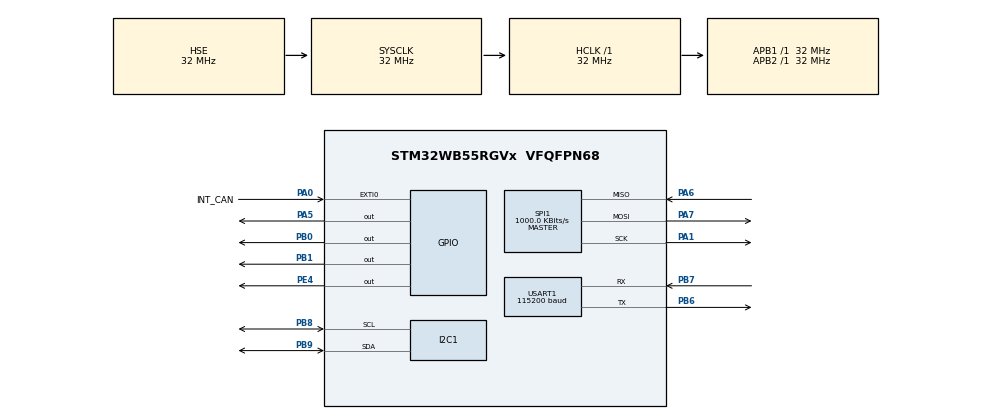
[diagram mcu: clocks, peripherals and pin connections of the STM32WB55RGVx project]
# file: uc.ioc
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Dma.I2C1_RX.1.Direction=DMA_PERIPH_TO_MEMORY
Dma.I2C1_RX.1.EventEnable=DISABLE
Dma.I2C1_RX.1.Instance=DMA1_Channel2
Dma.I2C1_RX.1.MemDataAlignment=DMA_MDATAALIGN_BYTE
Dma.I2C1_RX.1.MemInc=DMA_MINC_ENABLE
Dma.I2C1_RX.1.Mode=DMA_NORMAL
Dma.I2C1_RX.1.PeriphDataAlignment=DMA_PDATAALIGN_BYTE
Dma.I2C1_RX.1.PeriphInc=DMA_PINC_DISABLE
Dma.I2C1_RX.1.Polarity=HAL_DMAMUX_REQ_GEN_RISING
Dma.I2C1_RX.1.Priority=DMA_PRIORITY_LOW
Dma.I2C1_RX.1.RequestNumber=1
Dma.I2C1_RX.1.SignalID=NONE
Dma.I2C1_RX.1.SyncEnable=DISABLE
Dma.I2C1_RX.1.SyncPolarity=HAL_DMAMUX_SYNC_NO_EVENT
Dma.I2C1_RX.1.SyncRequestNumber=1
Dma.I2C1_RX.1.SyncSignalID=NONE
Dma.I2C1_TX.2.Direction=DMA_MEMORY_TO_PERIPH
Dma.I2C1_TX.2.EventEnable=DISABLE
Dma.I2C1_TX.2.Instance=DMA1_Channel3
Dma.I2C1_TX.2.MemDataAlignment=DMA_MDATAALIGN_BYTE
Dma.I2C1_TX.2.MemInc=DMA_MINC_ENABLE
Dma.I2C1_TX.2.Mode=DMA_NORMAL
Dma.I2C1_TX.2.PeriphDataAlignment=DMA_PDATAALIGN_BYTE
Dma.I2C1_TX.2.PeriphInc=DMA_PINC_DISABLE
Dma.I2C1_TX.2.Polarity=HAL_DMAMUX_REQ_GEN_RISING
Dma.I2C1_TX.2.Priority=DMA_PRIORITY_LOW
Dma.I2C1_TX.2.RequestNumber=1
Dma.I2C1_TX.2.SignalID=NONE
Dma.I2C1_TX.2.SyncEnable=DISABLE
Dma.I2C1_TX.2.SyncPolarity=HAL_DMAMUX_SYNC_NO_EVENT
Dma.I2C1_TX.2.SyncRequestNumber=1
Dma.I2C1_TX.2.SyncSignalID=NONE
Dma.Request0=USART1_TX
Dma.Request1=I2C1_RX
Dma.Request2=I2C1_TX
Dma.Request3=SPI1_RX
Dma.Request4=SPI1_TX
Dma.SPI1_RX.3.Direction=DMA_PERIPH_TO_MEMORY
Dma.SPI1_RX.3.EventEnable=DISABLE
Dma.SPI1_RX.3.Instance=DMA1_Channel4
Dma.SPI1_RX.3.MemDataAlignment=DMA_MDATAALIGN_BYTE
Dma.SPI1_RX.3.MemInc=DMA_MINC_ENABLE
Dma.SPI1_RX.3.Mode=DMA_NORMAL
Dma.SPI1_RX.3.PeriphDataAlignment=DMA_PDATAALIGN_BYTE
Dma.SPI1_RX.3.PeriphInc=DMA_PINC_DISABLE
Dma.SPI1_RX.3.Polarity=HAL_DMAMUX_REQ_GEN_RISING
Dma.SPI1_RX.3.Priority=DMA_PRIORITY_LOW
Dma.SPI1_RX.3.RequestNumber=1
Dma.SPI1_RX.3.SignalID=NONE
Dma.SPI1_RX.3.SyncEnable=DISABLE
Dma.SPI1_RX.3.SyncPolarity=HAL_DMAMUX_SYNC_NO_EVENT
Dma.SPI1_RX.3.SyncRequestNumber=1
Dma.SPI1_RX.3.SyncSignalID=NONE
Dma.SPI1_TX.4.Direction=DMA_MEMORY_TO_PERIPH
Dma.SPI1_TX.4.EventEnable=DISABLE
Dma.SPI1_TX.4.Instance=DMA1_Channel5
Dma.SPI1_TX.4.MemDataAlignment=DMA_MDATAALIGN_BYTE
Dma.SPI1_TX.4.MemInc=DMA_MINC_ENABLE
Dma.SPI1_TX.4.Mode=DMA_NORMAL
Dma.SPI1_TX.4.PeriphDataAlignment=DMA_PDATAALIGN_BYTE
Dma.SPI1_TX.4.PeriphInc=DMA_PINC_DISABLE
Dma.SPI1_TX.4.Polarity=HAL_DMAMUX_REQ_GEN_RISING
Dma.SPI1_TX.4.Priority=DMA_PRIORITY_LOW
Dma.SPI1_TX.4.RequestNumber=1
Dma.SPI1_TX.4.SignalID=NONE
Dma.SPI1_TX.4.SyncEnable=DISABLE
Dma.SPI1_TX.4.SyncPolarity=HAL_DMAMUX_SYNC_NO_EVENT
Dma.SPI1_TX.4.SyncRequestNumber=1
Dma.SPI1_TX.4.SyncSignalID=NONE
Dma.USART1_TX.0.Direction=DMA_MEMORY_TO_PERIPH
Dma.USART1_TX.0.EventEnable=DISABLE
Dma.USART1_TX.0.Instance=DMA1_Channel1
Dma.USART1_TX.0.MemDataAlignment=DMA_MDATAALIGN_BYTE
Dma.USART1_TX.0.MemInc=DMA_MINC_ENABLE
Dma.USART1_TX.0.Mode=DMA_NORMAL
Dma.USART1_TX.0.PeriphDataAlignment=DMA_PDATAALIGN_BYTE
Dma.USART1_TX.0.PeriphInc=DMA_PINC_DISABLE
Dma.USART1_TX.0.Polarity=HAL_DMAMUX_REQ_GEN_RISING
Dma.USART1_TX.0.Priority=DMA_PRIORITY_LOW
Dma.USART1_TX.0.RequestNumber=1
Dma.USART1_TX.0.SignalID=NONE
Dma.USART1_TX.0.SyncEnable=DISABLE
Dma.USART1_TX.0.SyncPolarity=HAL_DMAMUX_SYNC_NO_EVENT
Dma.USART1_TX.0.SyncRequestNumber=1
Dma.USART1_TX.0.SyncSignalID=NONE
I2C1.Timing=0x00B07CB4
Mcu.Family=STM32WB
Mcu.Name=STM32WB55RGVx
Mcu.Package=VFQFPN68
NVIC.DMA1_Channel1_IRQn=true\:15\:0\:true\:false\:true\:false\:true\:true
NVIC.DMA1_Channel2_IRQn=true\:0\:0\:false\:false\:true\:false\:true\:true
NVIC.DMA1_Channel3_IRQn=true\:0\:0\:false\:false\:true\:false\:true\:true
NVIC.DMA1_Channel4_IRQn=true\:0\:0\:false\:false\:true\:false\:true\:true
NVIC.DMA1_Channel5_IRQn=true\:0\:0\:false\:false\:true\:false\:true\:true
NVIC.EXTI0_IRQn=true\:0\:0\:false\:false\:true\:true\:true\:true
NVIC.HSEM_IRQn=true\:0\:0\:false\:false\:true\:false\:true\:true
NVIC.I2C1_ER_IRQn=true\:0\:0\:false\:false\:true\:true\:true\:true
NVIC.I2C1_EV_IRQn=true\:0\:0\:false\:false\:true\:true\:true\:true
NVIC.IPCC_C1_RX_IRQn=true\:0\:0\:false\:false\:true\:true\:true\:true
NVIC.IPCC_C1_TX_IRQn=true\:0\:0\:false\:false\:true\:true\:true\:true
NVIC.PriorityGroup=NVIC_PRIORITYGROUP_4
NVIC.RTC_WKUP_IRQn=true\:0\:0\:false\:false\:true\:true\:true\:true
NVIC.SPI1_IRQn=true\:0\:0\:false\:false\:true\:true\:true\:true
NVIC.USART1_IRQn=true\:0\:0\:false\:false\:true\:true\:true\:true
OSC_IN.Mode=HSE-External-Oscillator
OSC_IN.Signal=RCC_OSC_IN
OSC_OUT.Mode=HSE-External-Oscillator
OSC_OUT.Signal=RCC_OSC_OUT
PA0.GPIO_Label=INT_CAN
PA0.GPIO_ModeDefaultEXTI=GPIO_MODE_IT_FALLING
PA0.GPIO_PuPd=GPIO_NOPULL
PA0.Signal=GPXTI0
PA1.Mode=Full_Duplex_Master
PA1.Signal=SPI1_SCK
PA13.Mode=Serial_Wire
PA13.Signal=SYS_JTMS-SWDIO
PA14.Mode=Serial_Wire
PA14.Signal=SYS_JTCK-SWCLK
PA5.Signal=GPIO_Output
PA6.Mode=Full_Duplex_Master
PA6.Signal=SPI1_MISO
PA7.Mode=Full_Duplex_Master
PA7.Signal=SPI1_MOSI
PB0.Signal=GPIO_Output
PB1.Signal=GPIO_Output
PB3.Signal=SYS_JTDO-SWO
PB6.Mode=Asynchronous
PB6.Signal=USART1_TX
PB7.Mode=Asynchronous
PB7.Signal=USART1_RX
PB8.Mode=I2C
PB8.Signal=I2C1_SCL
PB9.Mode=I2C
PB9.Signal=I2C1_SDA
PC14-OSC32_IN.Mode=LSE-External-Oscillator
PC14-OSC32_IN.Signal=RCC_OSC32_IN
PC15-OSC32_OUT.Mode=LSE-External-Oscillator
PC15-OSC32_OUT.Signal=RCC_OSC32_OUT
PE4.Signal=GPIO_Output
ProjectManager.HeapSize=0x400
ProjectManager.StackSize=0x1000
ProjectManager.TargetToolchain=STM32CubeIDE
RCC.ADCFreq_Value=16000000
RCC.AHBFreq_Value=32000000
RCC.APB1Freq_Value=32000000
RCC.APB1TimFreq_Value=32000000
RCC.APB2Freq_Value=32000000
RCC.APB2TimFreq_Value=32000000
RCC.APB3Freq_Value=16000000
RCC.CortexFreq_Value=32000000
RCC.HCLKFreq_Value=32000000
RCC.HSE_VALUE=32000000
RCC.HSI48_VALUE=48000000
RCC.HSI_VALUE=16000000
RCC.RFWKPClockSelection=RCC_RFWKPCLKSOURCE_LSE
RCC.RTCClockSelection=RCC_RTCCLKSOURCE_LSE
RCC.SMPSCLockSelection=RCC_SMPSCLKSOURCE_HSE
RCC.SMPSDivider=4
RCC.SYSCLKFreq_VALUE=32000000
RCC.SYSCLKSource=RCC_SYSCLKSOURCE_HSE
RCC.USBFreq_Value=16000000
RCC.VCOOutputFreq_Value=32000000
RF1.Mode=RF1_Activate
RF1.Signal=RF_RF1
SPI1.BaudRatePrescaler=SPI_BAUDRATEPRESCALER_32
SPI1.CalculateBaudRate=1000.0 KBits/s
SPI1.DataSize=SPI_DATASIZE_8BIT
SPI1.Direction=SPI_DIRECTION_2LINES
SPI1.Mode=SPI_MODE_MASTER
SPI1.NSSPMode=SPI_NSS_PULSE_DISABLE
SPI1.VirtualType=VM_MASTER
STM32_WPAN.AD_TYPE_COMPLETE_LOCAL_NAME=Unicycle
STM32_WPAN.CFG_DEBUGGER_SUPPORTED=1
STM32_WPAN.CFG_GAP_DEVICE_NAME=Unicycle_BLE
STM32_WPAN.CFG_GAP_DEVICE_NAME_LENGTH=12
STM32_WPAN.CFG_HW_USART1_ENABLED=1
STM32_WPAN.CUSTOM_P2P_SERVER=Disabled
STM32_WPAN.CUSTOM_TEMPLATE=Enabled
STM32_WPAN.INCLUDE_AD_TYPE_COMPLETE_LOCAL_NAME=1
STM32_WPAN.INCLUDE_AD_TYPE_MANUFACTURER_SPECIFIC_DATA=1
STM32_WPAN.INCLUDE_AD_TYPE_TX_POWER_LEVEL=1
STM32_WPAN.NUMBER_OF_SERVICES=1
STM32_WPAN.PAIRING_PARAMETERS=ON
STM32_WPAN.SERVICE1_CHAR1_GATT_NOTIFY_NOTIFICATION_COMPLETION=GATT_NOTIFY_NOTIFICATION_COMPLETION
STM32_WPAN.SERVICE1_CHAR1_LENGTH_CHARACTERISTIC=CHAR_VALUE_LEN_VARIABLE
STM32_WPAN.SERVICE1_CHAR1_LONG_NAME=Main_Motor
STM32_WPAN.SERVICE1_CHAR1_PROP_NOTIFY=CHAR_PROP_NOTIFY
STM32_WPAN.SERVICE1_CHAR1_PROP_READ=CHAR_PROP_READ
STM32_WPAN.SERVICE1_CHAR1_PROP_WRITE=CHAR_PROP_WRITE
STM32_WPAN.SERVICE1_CHAR1_PROP_WRITE_WITHOUT_RESP=CHAR_PROP_WRITE_WITHOUT_RESP
STM32_WPAN.SERVICE1_CHAR1_SHORT_NAME=MM
STM32_WPAN.SERVICE1_CHAR1_UUID=00 01
STM32_WPAN.SERVICE1_CHAR1_VALUE_LENGTH=128
STM32_WPAN.SERVICE1_CHAR2_LENGTH_CHARACTERISTIC=CHAR_VALUE_LEN_VARIABLE
STM32_WPAN.SERVICE1_CHAR2_LONG_NAME=Balancer_Motor
STM32_WPAN.SERVICE1_CHAR2_PROP_READ=CHAR_PROP_READ
STM32_WPAN.SERVICE1_CHAR2_PROP_WRITE=CHAR_PROP_WRITE
STM32_WPAN.SERVICE1_CHAR2_PROP_WRITE_WITHOUT_RESP=CHAR_PROP_WRITE_WITHOUT_RESP
STM32_WPAN.SERVICE1_CHAR2_SHORT_NAME=BM
STM32_WPAN.SERVICE1_CHAR2_UUID=00 02
STM32_WPAN.SERVICE1_CHAR2_VALUE_LENGTH=128
STM32_WPAN.SERVICE1_CHAR3_ATTR_PERMISSION_AUTHEN_WRITE=\ 
STM32_WPAN.SERVICE1_CHAR3_ATTR_PERMISSION_AUTHOR_READ=\ 
STM32_WPAN.SERVICE1_CHAR3_ATTR_PERMISSION_AUTHOR_WRITE=\ 
STM32_WPAN.SERVICE1_CHAR3_GATT_NOTIFY_NOTIFICATION_COMPLETION=\ 
STM32_WPAN.SERVICE1_CHAR3_GATT_NOTIFY_READ_REQ_AND_WAIT_FOR_APPL_RESP=\ 
STM32_WPAN.SERVICE1_CHAR3_GATT_NOTIFY_WRITE_REQ_AND_WAIT_FOR_APPL_RESP=\ 
STM32_WPAN.SERVICE1_CHAR3_LENGTH_CHARACTERISTIC=CHAR_VALUE_LEN_VARIABLE
STM32_WPAN.SERVICE1_CHAR3_LONG_NAME=UcCommand
STM32_WPAN.SERVICE1_CHAR3_PROP_BROADCAST=CHAR_PROP_BROADCAST
STM32_WPAN.SERVICE1_CHAR3_PROP_INDICATE=CHAR_PROP_INDICATE
STM32_WPAN.SERVICE1_CHAR3_PROP_NOTIFY=CHAR_PROP_NOTIFY
STM32_WPAN.SERVICE1_CHAR3_PROP_WRITE=CHAR_PROP_WRITE
STM32_WPAN.SERVICE1_CHAR3_PROP_WRITE_WITHOUT_RESP=CHAR_PROP_WRITE_WITHOUT_RESP
STM32_WPAN.SERVICE1_CHAR3_SHORT_NAME=UcC
STM32_WPAN.SERVICE1_CHAR3_UUID=00 03
STM32_WPAN.SERVICE1_CHAR3_VALUE_LENGTH=128
STM32_WPAN.SERVICE1_CHAR4_ATTR_PERMISSION_AUTHEN_WRITE=ATTR_PERMISSION_AUTHEN_WRITE
STM32_WPAN.SERVICE1_CHAR4_ATTR_PERMISSION_AUTHOR_WRITE=ATTR_PERMISSION_AUTHOR_WRITE
STM32_WPAN.SERVICE1_CHAR4_ATTR_PERMISSION_ENCRY_WRITE=ATTR_PERMISSION_ENCRY_WRITE
STM32_WPAN.SERVICE1_CHAR4_LENGTH_CHARACTERISTIC=CHAR_VALUE_LEN_VARIABLE
STM32_WPAN.SERVICE1_CHAR4_LONG_NAME=UcUpdater
STM32_WPAN.SERVICE1_CHAR4_PROP_WRITE=CHAR_PROP_WRITE
STM32_WPAN.SERVICE1_CHAR4_PROP_WRITE_WITHOUT_RESP=CHAR_PROP_WRITE_WITHOUT_RESP
STM32_WPAN.SERVICE1_CHAR4_SHORT_NAME=UCU
STM32_WPAN.SERVICE1_CHAR4_UUID=00 04
STM32_WPAN.SERVICE1_CHAR4_VALUE_LENGTH=128
STM32_WPAN.SERVICE1_LONG_NAME=UcServer
STM32_WPAN.SERVICE1_NUMBER_OF_CHARACTERISTICS=4
STM32_WPAN.SERVICE1_SHORT_NAME=UCS
USART1.BaudRate=115200
USART1.VirtualMode-Asynchronous=VM_ASYNC
VP_HSEM_VS_HSEM.Mode=HSEM_Activate
VP_IPCC_VS_IPCC.Mode=IPCC_Activate
VP_MEMORYMAP_VS_MEMORYMAP.Mode=CurAppReg
VP_RTC_VS_RTC_Activate.Mode=RTC_Enabled
VP_RTC_VS_RTC_WakeUp_intern.Mode=WakeUp
VP_SEQUENCER_VS_SEQUENCER.Mode=SEQUENCER_Enabled
VP_STM32_WPAN_VS_BLE_HOST.Mode=STM32_WPAN_Enabled
VP_TINY_LPM_VS_TINY_LPM.Mode=TINY_LPM_Enabled
board=custom

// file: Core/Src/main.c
/* USER CODE BEGIN Header */
/**
 ******************************************************************************
 * @file           : main.c
 * @brief          : Main program body
 ******************************************************************************
 * @attention
 *
 * Copyright (c) 2025 STMicroelectronics.
 * All rights reserved.
 *
 * This software is licensed under terms that can be found in the LICENSE file
 * in the root directory of this software component.
 * If no LICENSE file comes with this software, it is provided AS-IS.
 *
 ******************************************************************************
 */
/* USER CODE END Header */
#include "main.h"
#include "dma.h"
#include "i2c.h"
#include "ipcc.h"
#include "rf.h"
#include "rtc.h"
#include "spi.h"
#include "gpio.h"

/* USER CODE BEGIN Includes */
#include "stm32_lpm.h"
#include "stm32_seq.h"
#include <stdio.h>

// usart
#include "stm32wbxx_hal.h"
#include "usart.h"
// BLE
#include "BLE/ble.h"
#include "app_ble.h"
#include "app_common.h"
#include "custom_stm.h"
#include "hw_conf.h"
#include "hw_if.h"
#include "svc_ctl.h"

// CAN
#include "CAN/CANSPI.h"
#include "CAN/can.h"
#include "CAN/mcp2515.h"

/* USER CODE END Includes */

/* USER CODE BEGIN PV */
extern MotorFeedback motor_feedback;

/* USER CODE END PV */

void SystemClock_Config(void);
void PeriphCommonClock_Config(void);

/* USER CODE BEGIN 0 */

int _write(int le, char *ptr, int len) {
  int DataIdx;
  for (DataIdx = 0; DataIdx < len; DataIdx++) {
    ITM_SendChar(*ptr++);
  }

  return len;
}
/* USER CODE END 0 */

int main(void)
{

  /* MCU Configuration--------------------------------------------------------*/

  /* Reset of all peripherals, Initializes the Flash interface and the Systick. */
  HAL_Init();
  /* Config code for STM32_WPAN (HSE Tuning must be done before system clock configuration) */
  MX_APPE_Config();

  /* Configure the system clock */
  SystemClock_Config();

  /* Configure the peripherals common clocks */
  PeriphCommonClock_Config();

  /* IPCC initialisation */
  MX_IPCC_Init();

  /* Initialize all configured peripherals */
  MX_GPIO_Init();
  MX_DMA_Init();
  MX_RTC_Init();
  MX_I2C1_Init();
  MX_SPI1_Init();
  MX_RF_Init();
  /* USER CODE BEGIN 2 */

  HAL_Delay(100); // wait for SWV, sometimes it doesn't immediately work

  MX_USART1_UART_Init();
  // Motor_Init(MOTOR_DEFAULT_ID); // initialize motor with CAN ID 1
  MY_CAN_Init(); // initialize CAN

  /* USER CODE END 2 */

  /* Init code for STM32_WPAN */
  MX_APPE_Init();

  /* Infinite loop */
  /* USER CODE BEGIN WHILE */

  uint8_t tdata[8];
  uint8_t rdata[8];

  for (int i = 0; i < 8; i++)
    tdata[i] = 0xFF;
  tdata[7] = 0xFD; // stop command

  HAL_Delay(500); // wait for BLE init
  while (1) {

    /* USER CODE END WHILE */
    MX_APPE_Process();

    /* USER CODE BEGIN 3 */
    HAL_Delay(1000);
    MY_CAN_Transmit(tdata, 8, MOTOR_DEFAULT_ID);
    HAL_Delay(30);
    MY_CAN_Receive(rdata, 8, MOTOR_DEFAULT_ID);

    printf("Received CAN data: ");
    for (int i = 0; i < 8; i++) {
      printf("%02X ", rdata[i]);
    }
    printf("\n");

    //////////////////////////////////////////////////////////////////////////////////////////////////
    //// Main loop
    //////////////////////////////////////////////////////////////////////////////////////
    //////////////////////////////////////////////////////////////////////////////////////////////////
    runBLE(); // send current data to BLE central
  }
  /* USER CODE END 3 */
}

void SystemClock_Config(void)
{
  RCC_OscInitTypeDef RCC_OscInitStruct = {0};
  RCC_ClkInitTypeDef RCC_ClkInitStruct = {0};

  /** Configure LSE Drive Capability
  */
  HAL_PWR_EnableBkUpAccess();
  __HAL_RCC_LSEDRIVE_CONFIG(RCC_LSEDRIVE_MEDIUMHIGH);

  /** Configure the main internal regulator output voltage
  */
  __HAL_PWR_VOLTAGESCALING_CONFIG(PWR_REGULATOR_VOLTAGE_SCALE1);

  /** Initializes the RCC Oscillators according to the specified parameters
  * in the RCC_OscInitTypeDef structure.
  */
  RCC_OscInitStruct.OscillatorType = RCC_OSCILLATORTYPE_HSI|RCC_OSCILLATORTYPE_HSE
                              |RCC_OSCILLATORTYPE_LSE;
  RCC_OscInitStruct.HSEState = RCC_HSE_ON;
  RCC_OscInitStruct.LSEState = RCC_LSE_ON;
  RCC_OscInitStruct.HSIState = RCC_HSI_ON;
  RCC_OscInitStruct.HSICalibrationValue = RCC_HSICALIBRATION_DEFAULT;
  RCC_OscInitStruct.PLL.PLLState = RCC_PLL_NONE;
  if (HAL_RCC_OscConfig(&RCC_OscInitStruct) != HAL_OK)
  {
    Error_Handler();
  }

  /** Configure the SYSCLKSource, HCLK, PCLK1 and PCLK2 clocks dividers
  */
  RCC_ClkInitStruct.ClockType = RCC_CLOCKTYPE_HCLK4|RCC_CLOCKTYPE_HCLK2
                              |RCC_CLOCKTYPE_HCLK|RCC_CLOCKTYPE_SYSCLK
                              |RCC_CLOCKTYPE_PCLK1|RCC_CLOCKTYPE_PCLK2;
  RCC_ClkInitStruct.SYSCLKSource = RCC_SYSCLKSOURCE_HSE;
  RCC_ClkInitStruct.AHBCLKDivider = RCC_SYSCLK_DIV1;
  RCC_ClkInitStruct.APB1CLKDivider = RCC_HCLK_DIV1;
  RCC_ClkInitStruct.APB2CLKDivider = RCC_HCLK_DIV1;
  RCC_ClkInitStruct.AHBCLK2Divider = RCC_SYSCLK_DIV1;
  RCC_ClkInitStruct.AHBCLK4Divider = RCC_SYSCLK_DIV1;

  if (HAL_RCC_ClockConfig(&RCC_ClkInitStruct, FLASH_LATENCY_1) != HAL_OK)
  {
    Error_Handler();
  }
}

void PeriphCommonClock_Config(void)
{
  RCC_PeriphCLKInitTypeDef PeriphClkInitStruct = {0};

  /** Initializes the peripherals clock
  */
  PeriphClkInitStruct.PeriphClockSelection = RCC_PERIPHCLK_SMPS|RCC_PERIPHCLK_RFWAKEUP;
  PeriphClkInitStruct.RFWakeUpClockSelection = RCC_RFWKPCLKSOURCE_LSE;
  PeriphClkInitStruct.SmpsClockSelection = RCC_SMPSCLKSOURCE_HSE;
  PeriphClkInitStruct.SmpsDivSelection = RCC_SMPSCLKDIV_RANGE1;

  if (HAL_RCCEx_PeriphCLKConfig(&PeriphClkInitStruct) != HAL_OK)
  {
    Error_Handler();
  }
}

void Error_Handler(void)
{
  __disable_irq();
  while (1) {
  }
}
#ifdef USE_FULL_ASSERT
/**
  * @brief  Reports the name of the source file and the source line number
  *         where the assert_param error has occurred.
  * @param  file: pointer to the source file name
  * @param  line: assert_param error line source number
  * @retval None
  */
void assert_failed(uint8_t *file, uint32_t line)
{
  /* USER CODE BEGIN 6 */
  /* User can add his own implementation to report the file name and line
     number, ex: printf("Wrong parameters value: file %s on line %d\r\n", file,
     line) */
  /* USER CODE END 6 */
}
#endif /* USE_FULL_ASSERT */
